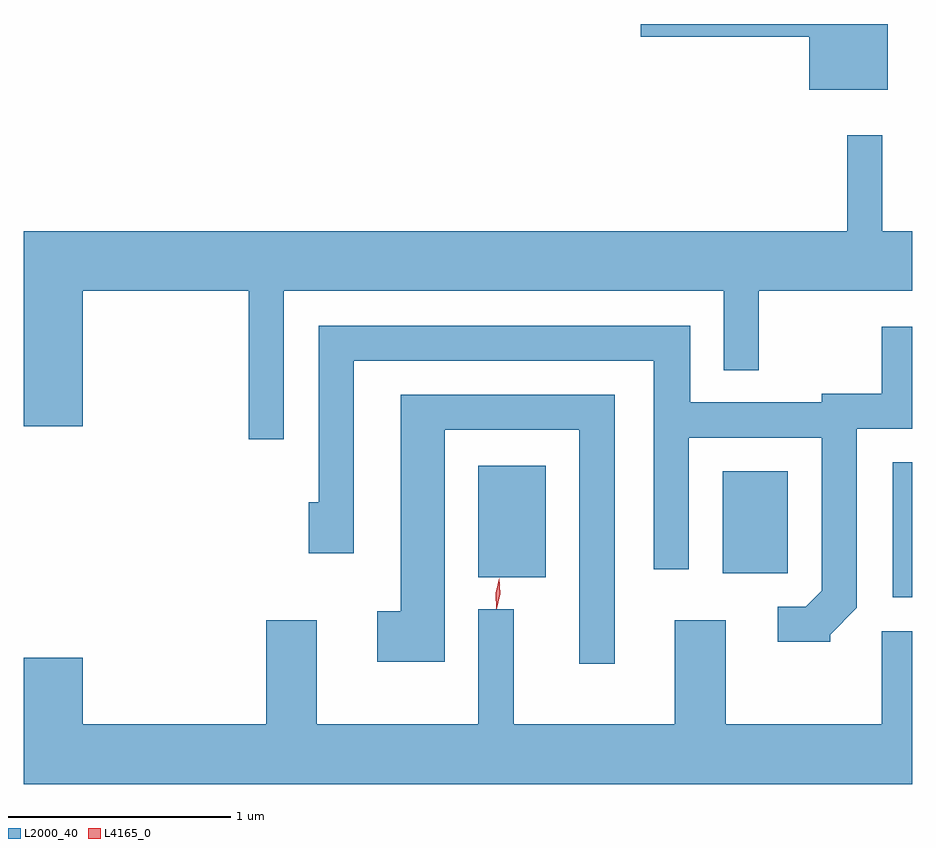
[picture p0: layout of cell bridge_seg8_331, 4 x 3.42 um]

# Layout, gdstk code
import gdstk
lib = gdstk.Library(unit=1e-6, precision=1e-09)
def R(c, l, rs):  # rectangles x0, y0, x1, y1
    for r in rs: c.add(gdstk.rectangle(r[:2], r[2:], *l))
def P(c, l, *ps):  # polygons
    for p in ps: c.add(gdstk.Polygon(p, *l))
L2000_40 = (2000, 40)
L4165_0 = (4165, 0)

bridge_seg8_331 = lib.new_cell('bridge_seg8_331')
R(bridge_seg8_331, L2000_40, [(898.311,1877.216,898.399,1877.824), (896.446,1877.306,896.749,1877.809), (897.546,1877.326,897.839,1877.784)])
P(bridge_seg8_331, L2000_40, [(898.289,1879.798),(897.176,1879.798),(897.176,1879.741),(897.936,1879.741),(897.936,1879.501),(898.289,1879.501)],
  [(895.569,1878.596),(897.551,1878.596),(897.551,1878.238),(897.709,1878.238),(897.709,1878.596),(898.399,1878.596),(898.399,1878.864),(898.264,1878.864),(898.264,1879.298),(898.106,1879.298),(898.106,1878.864),(894.399,1878.864),(894.399,1877.986),(894.664,1877.986),(894.664,1878.596),(895.411,1878.596),(895.411,1877.928),(895.569,1877.928)],
  [(898.029,1877.049),(898.149,1877.169),(898.149,1877.976),(898.399,1877.976),(898.399,1878.434),(898.261,1878.434),(898.261,1878.134),(897.991,1878.134),(897.991,1878.094),(897.399,1878.094),(897.399,1878.439),(895.726,1878.439),(895.726,1877.644),(895.681,1877.644),(895.681,1877.416),(895.884,1877.416),(895.884,1878.281),(897.236,1878.281),(897.236,1877.343),(897.394,1877.343),(897.394,1877.936),(897.991,1877.936),(897.991,1877.247),(897.919,1877.174),(897.793,1877.174),(897.793,1877.016),(898.029,1877.016)],
  [(897.059,1878.129),(896.096,1878.129),(896.096,1877.154),(895.991,1877.154),(895.991,1876.926),(896.294,1876.926),(896.294,1877.971),(896.901,1877.971),(896.901,1876.918),(897.059,1876.918)],
  [(898.399,1877.064),(898.261,1877.064),(898.261,1876.644),(897.559,1876.644),(897.559,1877.114),(897.331,1877.114),(897.331,1876.644),(896.604,1876.644),(896.604,1877.163),(896.446,1877.163),(896.446,1876.644),(895.719,1876.644),(895.719,1877.114),(895.491,1877.114),(895.491,1876.644),(894.664,1876.644),(894.664,1876.944),(894.399,1876.944),(894.399,1876.376),(898.399,1876.376)])
P(bridge_seg8_331, L4165_0, [(896.527,1877.165),(896.524,1877.235),(896.539,1877.303),(896.54,1877.303),(896.54,1877.303),(896.544,1877.233),(896.528,1877.165),(896.528,1877.165)],
  [(896.527,1877.168),(896.524,1877.235),(896.539,1877.3),(896.54,1877.3),(896.54,1877.3),(896.544,1877.233),(896.528,1877.168),(896.528,1877.168)])

lib.write_gds('bridge_seg8_331.gds')
